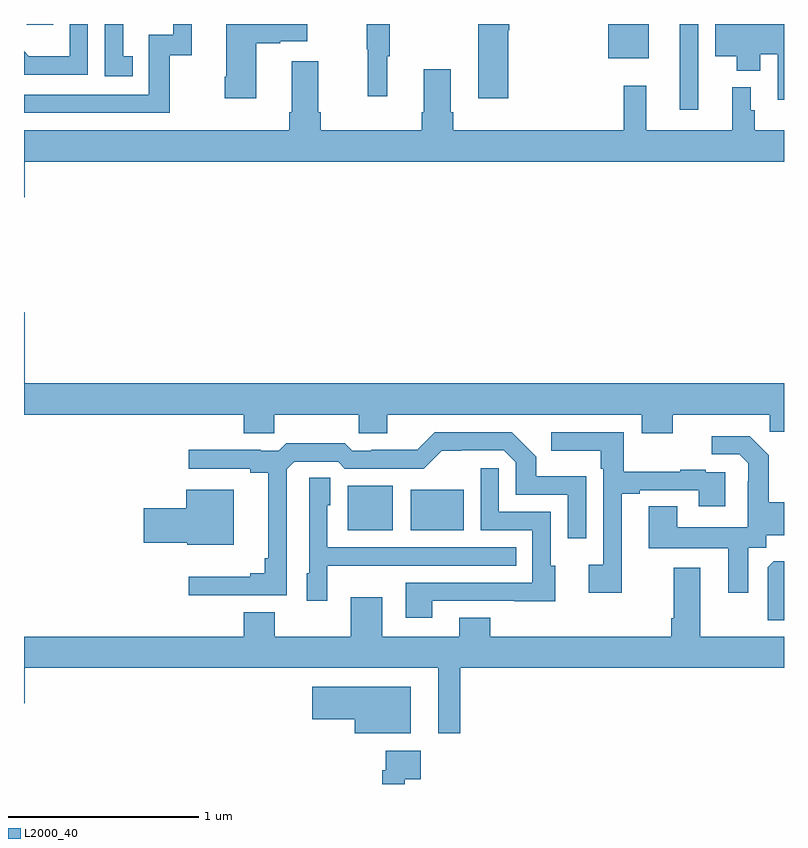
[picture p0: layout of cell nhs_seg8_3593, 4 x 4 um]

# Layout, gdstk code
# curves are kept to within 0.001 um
import gdstk
lib = gdstk.Library(unit=1e-6, precision=1e-09)
def R(c, l, rs):  # rectangles x0, y0, x1, y1
    for r in rs: c.add(gdstk.rectangle(r[:2], r[2:], *l))
def P(c, l, *ps):  # polygons
    for p in ps: c.add(gdstk.Polygon(p, *l))
L2000_40 = (2000, 40)

nhs_seg8_3593 = lib.new_cell('nhs_seg8_3593')
R(nhs_seg8_3593, L2000_40, [(334.703,1105.235,334.942,1105.471), (335.036,1105.235,335.314,1105.45), (336.452,1107.45,336.549,1107.9), (336.074,1107.719,336.289,1107.9), (333.015,1107.897,333.155,1107.9)])
P(nhs_seg8_3593, L2000_40, [(337,1107.9),(336.638,1107.9),(336.638,1107.731),(336.752,1107.731),(336.752,1107.653),(336.874,1107.653),(336.874,1107.742),(336.968,1107.742),(336.968,1107.501),(337,1107.501)],
  [(333.336,1107.9),(333.24,1107.9),(333.24,1107.73),(333.026,1107.73),(333,1107.756),(333,1107.633),(333.336,1107.633)],
  [(333.572,1107.729),(333.523,1107.729),(333.523,1107.9),(333.426,1107.9),(333.426,1107.624),(333.572,1107.624)],
  [(334.913,1107.731),(334.924,1107.731),(334.924,1107.9),(334.803,1107.9),(334.803,1107.768),(334.81,1107.768),(334.81,1107.519),(334.913,1107.519)],
  [(335.549,1107.867),(335.554,1107.867),(335.554,1107.9),(335.39,1107.9),(335.39,1107.51),(335.549,1107.51)],
  [(334.222,1107.799),(334.349,1107.799),(334.349,1107.809),(334.492,1107.809),(334.492,1107.9),(334.064,1107.9),(334.064,1107.622),(334.057,1107.622),(334.057,1107.51),(334.222,1107.51)],
  [(333.766,1107.735),(333.884,1107.735),(333.884,1107.9),(333.786,1107.9),(333.786,1107.843),(333.657,1107.843),(333.657,1107.528),(333,1107.528),(333,1107.432),(333.766,1107.432)],
  [(333.004,1107.176),(337,1107.176),(337,1107.34),(336.845,1107.34),(336.845,1107.447),(336.826,1107.447),(336.826,1107.568),(336.728,1107.568),(336.728,1107.34),(336.275,1107.34),(336.275,1107.574),(336.157,1107.574),(336.157,1107.34),(335.258,1107.34),(335.258,1107.436),(335.245,1107.436),(335.245,1107.661),(335.105,1107.661),(335.105,1107.436),(335.093,1107.436),(335.093,1107.34),(334.562,1107.34),(334.562,1107.436),(334.549,1107.436),(334.549,1107.703),(334.409,1107.703),(334.409,1107.436),(334.397,1107.436),(334.397,1107.34),(333,1107.34),(333,1106.988),(333.004,1106.988)],
  [(336.415,1105.844),(336.925,1105.844),(336.925,1105.754),(337,1105.754),(337,1106.008),(333.004,1106.008),(333.004,1106.383),(333,1106.383),(333,1105.844),(334.157,1105.844),(334.157,1105.746),(334.317,1105.746),(334.317,1105.844),(334.762,1105.844),(334.762,1105.746),(334.912,1105.746),(334.912,1105.844),(336.251,1105.844),(336.251,1105.745),(336.415,1105.745)],
  [(336.145,1105.428),(336.241,1105.428),(336.241,1105.446),(336.551,1105.446),(336.551,1105.362),(336.691,1105.362),(336.691,1105.542),(336.587,1105.542),(336.587,1105.555),(336.455,1105.555),(336.455,1105.544),(336.157,1105.544),(336.157,1105.752),(335.775,1105.752),(335.775,1105.655),(336.036,1105.655),(336.036,1105.559),(336.048,1105.559),(336.048,1105.054),(335.973,1105.054),(335.973,1104.906),(336.145,1104.906)],
  [(334.383,1105.557),(334.422,1105.596),(334.653,1105.596),(334.689,1105.56),(335.103,1105.56),(335.198,1105.655),(335.526,1105.656),(335.589,1105.593),(335.589,1105.422),(335.862,1105.422),(335.862,1105.194),(335.958,1105.194),(335.958,1105.519),(335.697,1105.519),(335.697,1105.622),(335.566,1105.752),(335.163,1105.752),(335.069,1105.658),(334.828,1105.658),(334.828,1105.653),(334.728,1105.653),(334.689,1105.693),(334.381,1105.693),(334.341,1105.653),(334.247,1105.653),(334.247,1105.658),(333.867,1105.658),(333.867,1105.56),(334.19,1105.56),(334.19,1105.538),(334.286,1105.538),(334.286,1105.087),(334.267,1105.087),(334.267,1105.01),(334.19,1105.01),(334.19,1104.991),(333.867,1104.991),(333.867,1104.894),(334.383,1104.894)],
  [(336.811,1105.144),(336.906,1105.144),(336.906,1105.208),(337,1105.208),(337,1105.384),(336.921,1105.384),(336.921,1105.629),(336.821,1105.729),(336.621,1105.729),(336.621,1105.635),(336.765,1105.635),(336.812,1105.588),(336.812,1105.493),(336.81,1105.493),(336.81,1105.252),(336.439,1105.252),(336.439,1105.361),(336.287,1105.361),(336.287,1105.142),(336.707,1105.142),(336.707,1104.906),(336.811,1104.906)],
  [(335.149,1104.864),(335.579,1104.864),(335.579,1104.863),(335.797,1104.863),(335.797,1105.05),(335.772,1105.05),(335.772,1105.332),(335.499,1105.332),(335.499,1105.561),(335.403,1105.561),(335.403,1105.236),(335.676,1105.236),(335.676,1104.96),(335.009,1104.96),(335.009,1104.774),(335.149,1104.774)],
  [(334.596,1105.049),(334.913,1105.049),(334.913,1105.05),(335.591,1105.05),(335.591,1105.146),(334.596,1105.146),(334.596,1105.368),(334.612,1105.368),(334.612,1105.511),(334.5,1105.511),(334.5,1105.008),(334.487,1105.008),(334.487,1104.864),(334.596,1104.864)],
  [(334.105,1105.45),(333.854,1105.45),(333.854,1105.352),(333.63,1105.352),(333.63,1105.169),(333.858,1105.169),(333.858,1105.16),(334.105,1105.16)],
  [(337,1105.073),(336.947,1105.073),(336.915,1105.041),(336.915,1104.761),(337,1104.761)],
  [(335.297,1104.512),(337,1104.512),(337,1104.676),(336.559,1104.676),(336.559,1105.039),(336.419,1105.039),(336.419,1104.772),(336.407,1104.772),(336.407,1104.676),(335.455,1104.676),(335.455,1104.775),(335.291,1104.775),(335.291,1104.676),(334.885,1104.676),(334.885,1104.883),(334.721,1104.883),(334.721,1104.676),(334.321,1104.676),(334.321,1104.805),(334.157,1104.805),(334.157,1104.676),(333,1104.676),(333,1104.324),(333.004,1104.324),(333.004,1104.512),(335.18,1104.512),(335.18,1104.168),(335.297,1104.168)],
  [(335.035,1104.412),(334.518,1104.412),(334.518,1104.242),(334.742,1104.242),(334.742,1104.167),(335.035,1104.167)],
  [(335.003,1103.924),(335.089,1103.924),(335.089,1104.076),(334.905,1104.076),(334.905,1103.972),(334.885,1103.972),(334.885,1103.9),(335.003,1103.9)])

lib.write_gds('nhs_seg8_3593.gds')
